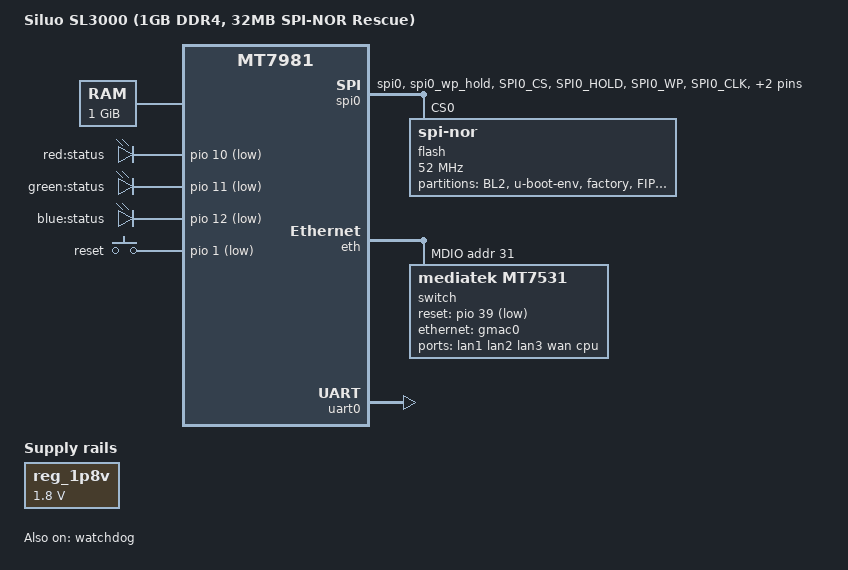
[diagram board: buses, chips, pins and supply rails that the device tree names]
/dts-v1/;
#include "mt7981.dtsi"
#include <dt-bindings/gpio/gpio.h>
#include <dt-bindings/input/input.h>
#include <dt-bindings/leds/common.h>

/ {
	model = "Siluo SL3000 (1GB DDR4, 32MB SPI-NOR Rescue)";
	compatible = "siluo,sl3000-spi-nor", "mediatek,mt7981";

	aliases {
		serial0 = &uart0;
		led-boot = &status_green_led;
		led-failsafe = &status_red_led;
		led-running = &status_green_led;
		led-upgrade = &status_blue_led;
		label-mac-device = &gmac0;
	};

	chosen {
		stdout-path = "serial0:115200n8";
		/* 救砖专用：强制走 initramfs，不挂载 rootfs */
		bootargs = "console=ttyS0,115200n1 earlycon=uart8250,mmio32,0x11002000 root=/dev/ram0";
	};

	/* 1GB DDR4 完整映射 */
	memory@40000000 {
		device_type = "memory";
		reg = <0x0 0x40000000 0x0 0x40000000>;
	};

	reg_1p8v: regulator-1p8v {
		compatible = "regulator-fixed";
		regulator-name = "fixed-1.8V";
		regulator-min-microvolt = <1800000>;
		regulator-max-microvolt = <1800000>;
		regulator-always-on;
	};

	leds {
		compatible = "gpio-leds";

		status_red_led: status-red {
			label = "red:status";
			gpios = <&pio 10 GPIO_ACTIVE_LOW>;
		};

		status_green_led: status-green {
			label = "green:status";
			gpios = <&pio 11 GPIO_ACTIVE_LOW>;
			linux,default-trigger = "heartbeat";
		};

		status_blue_led: status-blue {
			label = "blue:status";
			gpios = <&pio 12 GPIO_ACTIVE_LOW>;
		};
	};

	keys {
		compatible = "gpio-keys";

		reset {
			label = "reset";
			linux,code = <KEY_RESTART>;
			gpios = <&pio 1 GPIO_ACTIVE_LOW>;
			debounce-interval = <60>;
		};
	};
};

/* SPI-NOR 32MB 救砖分区表 */
&spi0 {
	pinctrl-names = "default";
	pinctrl-0 = <&spi0_flash_pins>;
	status = "okay";

	flash@0 {
		compatible = "jedec,spi-nor";
		reg = <0>;
		spi-max-frequency = <52000000>;

		partitions {
			compatible = "fixed-partitions";
			#address-cells = <1>;
			#size-cells = <1>;

			/* 0x000000 - 0x100000 (1MB) */
			partition@0 {
				label = "BL2";
				reg = <0x000000 0x100000>;
				read-only;
			};

			/* 0x100000 - 0x180000 (512KB) */
			partition@100000 {
				label = "u-boot-env";
				reg = <0x100000 0x80000>;
			};

			/* 0x180000 - 0x380000 (2MB) */
			partition@180000 {
				label = "factory";
				reg = <0x180000 0x200000>;
				read-only;
			};

			/* 0x380000 - 0x580000 (2MB) */
			partition@380000 {
				label = "FIP";
				reg = <0x380000 0x200000>;
				read-only;
			};

			/* 0x580000 - 0x1F00000 (约 25.5MB) */
			partition@580000 {
				label = "firmware";
				reg = <0x580000 0x1980000>;
			};

			/* 0x1F00000 - 0x2000000 (1MB) */
			partition@1f00000 {
				label = "storage";
				reg = <0x1F00000 0x100000>;
			};
		};
	};
};

/* 2.5G MAC + MT7531 交换机 */
&eth {
	status = "okay";

	gmac0: mac@0 {
		compatible = "mediatek,eth-mac";
		reg = <0>;
		phy-mode = "2500base-x";

		fixed-link {
			speed = <2500>;
			full-duplex;
			pause;
		};
	};

	mdio: mdio-bus {
		#address-cells = <1>;
		#size-cells = <0>;

		switch@0 {
			compatible = "mediatek,mt7531";
			reg = <31>;
			reset-gpios = <&pio 39 GPIO_ACTIVE_LOW>;
			reset-delay-us = <10000>;

			ports {
				#address-cells = <1>;
				#size-cells = <0>;

				port@0 { reg = <0>; label = "lan1"; };
				port@1 { reg = <1>; label = "lan2"; };
				port@2 { reg = <2>; label = "lan3"; };
				port@3 { reg = <3>; label = "wan"; };

				port@6 {
					reg = <6>;
					label = "cpu";
					ethernet = <&gmac0>;
					phy-mode = "2500base-x";

					fixed-link {
						speed = <2500>;
						full-duplex;
						pause;
					};
				};
			};
		};
	};
};

/* 关闭 eMMC，确保 SPI 信号纯净 */
&mmc0 {
	status = "disabled";
};

/* SPI 引脚复用 */
&pio {
	spi0_flash_pins: spi0-pins {
		mux {
			function = "spi";
			groups = "spi0", "spi0_wp_hold";
		};

		conf-pu {
			pins = "SPI0_CS", "SPI0_HOLD", "SPI0_WP";
			bias-pull-up;
			drive-strength = <MTK_DRIVE_8mA>;
		};

		conf-pd {
			pins = "SPI0_CLK", "SPI0_MOSI", "SPI0_MISO";
			drive-strength = <MTK_DRIVE_8mA>;
		};
	};
};

&uart0 { status = "okay"; };
&watchdog { status = "okay"; };
